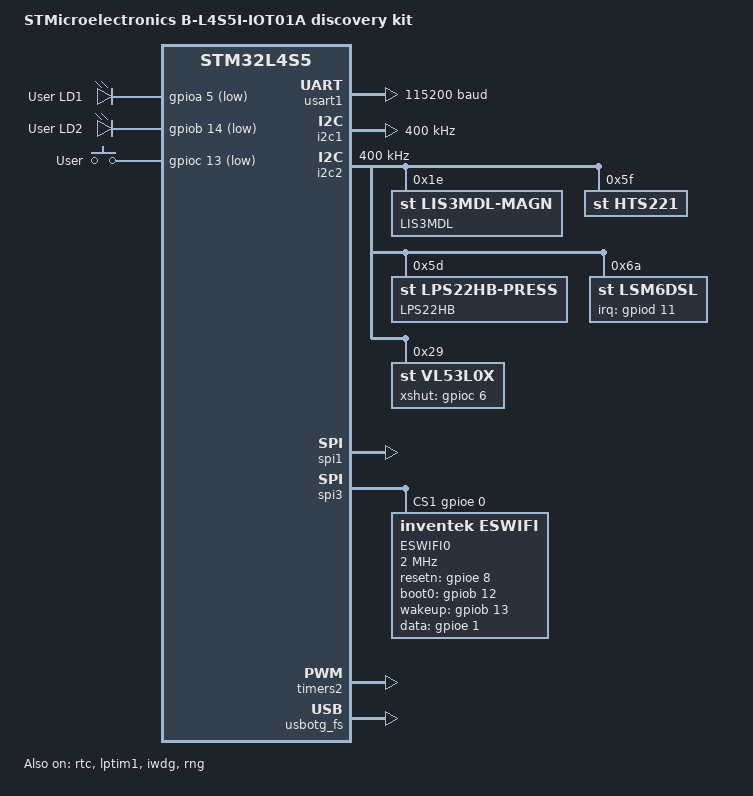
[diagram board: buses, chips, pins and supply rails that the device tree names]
/*
 * Copyright (c) 2020 STMicroelectronics
 *
 * SPDX-License-Identifier: Apache-2.0
 */

/dts-v1/;
#include <st/l4/stm32l4s5Xi.dtsi>
#include "arduino_r3_connector.dtsi"

/ {
	model = "STMicroelectronics B-L4S5I-IOT01A discovery kit";
	compatible = "st,b-l4s5i-iot01a", "st,stm32l4s5";

	chosen {
		zephyr,console = &usart1;
		zephyr,shell-uart = &usart1;
		zephyr,sram = &sram0;
		zephyr,flash = &flash0;
	};

	leds {
		compatible = "gpio-leds";
		green_led_1: led_1 {
			gpios = <&gpioa 5 GPIO_ACTIVE_LOW>;
			label = "User LD1";
		};
		green_led_2: led_2 {
			gpios = <&gpiob 14 GPIO_ACTIVE_LOW>;
			label = "User LD2";
		};
	};

	gpio_keys {
		compatible = "gpio-keys";
		user_button: button {
			label = "User";
			gpios = <&gpioc 13 GPIO_ACTIVE_LOW>;
		};
	};

	aliases {
		led0 = &green_led_1;
		sw0 = &user_button;
	};
};

&usart1 {
	current-speed = <115200>;
	status = "okay";
};

&i2c1 {
	status = "okay";
	clock-frequency = <I2C_BITRATE_FAST>;
};

&i2c2 {
	status = "okay";
	clock-frequency = <I2C_BITRATE_FAST>;

	lis3mdl-magn@1e {
		compatible = "st,lis3mdl-magn";
		reg = <0x1e>;
		label = "LIS3MDL";
	};

	hts221@5f {
		compatible = "st,hts221";
		reg = <0x5f>;
		label = "HTS221";
	};

	lps22hb-press@5d {
		compatible = "st,lps22hb-press";
		reg = <0x5d>;
		label = "LPS22HB";
	};

	lsm6dsl@6a {
		compatible = "st,lsm6dsl";
		reg = <0x6a>;
		irq-gpios = <&gpiod 11 GPIO_ACTIVE_HIGH>;
		label = "LSM6DSL";
	};

	vl53l0x@29 {
		compatible = "st,vl53l0x";
		reg = <0x29>;
		label = "VL53L0X";
		xshut-gpios = <&gpioc 6 GPIO_ACTIVE_HIGH>;
	};
};

&spi1 {
	status = "okay";
};

&spi3 {
	status = "okay";

	cs-gpios = <&gpiod 13 (GPIO_ACTIVE_HIGH | GPIO_PULL_UP)>,
		   <&gpioe 0 GPIO_ACTIVE_HIGH>;

	spbtle-rf@0 {
		compatible = "zephyr,bt-hci-spi";
		reg = <0>;
		reset-gpios = <&gpioa 8 (GPIO_ACTIVE_LOW | GPIO_PULL_UP)>;
		irq-gpios = <&gpioe 6 (GPIO_ACTIVE_HIGH | GPIO_PULL_DOWN)>;
		spi-max-frequency = <2000000>;
		label = "SPBTLE-RF";
	};

	wifi0: ism43362@1 {
		compatible = "inventek,eswifi";
		spi-max-frequency = <2000000>;
		reg = <1>;
		resetn-gpios = <&gpioe 8 GPIO_ACTIVE_HIGH>;
		boot0-gpios = <&gpiob 12 GPIO_ACTIVE_HIGH>;
		wakeup-gpios = <&gpiob 13 GPIO_ACTIVE_HIGH>;
		data-gpios = <&gpioe 1 GPIO_ACTIVE_HIGH>;
		label = "ESWIFI0";
	};
};

&flash0 {
	/*
	 * For more information, see:
	 * https://docs.zephyrproject.org/latest/guides/dts/legacy-macros.html#legacy-flash-partitions
	 */
	partitions {
		compatible = "fixed-partitions";
		#address-cells = <1>;
		#size-cells = <1>;

		boot_partition: partition@0 {
			label = "mcuboot";
			reg = <0x00000000 0x00010000>;
			read-only;
		};

		/*
		 * The flash starting at offset 0x10000 and ending at
		 * offset 0x1ffff is reserved for use by the application.
		 */

		slot0_partition: partition@20000 {
			label = "image-0";
			reg = <0x00020000 0x0006C000>;
		};
		slot1_partition: partition@8c000 {
			label = "image-1";
			reg = <0x0008C000 0x0006C000>;
		};
		scratch_partition: partition@f8000 {
			label = "image-scratch";
			reg = <0x000F8000 0x00004000>;
		};

		storage_partition: partition@fc000 {
			label = "storage";
			reg = <0x000fc000 0x00004000>;
		};
	};
};

&timers2 {
	status = "okay";

	pwm2: pwm {
		status = "okay";
	};
};

&rtc {
	status = "okay";
};

&lptim1 {
	status = "okay";
};

&usbotg_fs {
	status = "okay";
};

&iwdg {
	status = "okay";
};

&rng {
	status = "okay";
};
